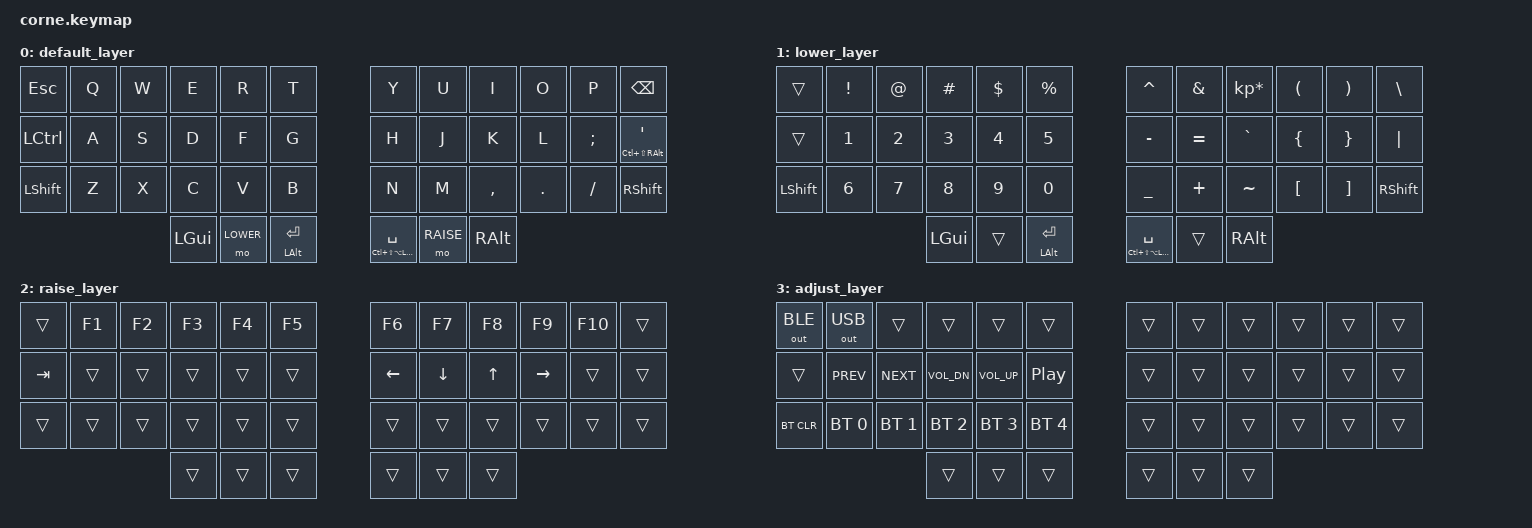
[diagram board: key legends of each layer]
/*
 * Copyright (c) 2020 The ZMK Contributors
 *
 * SPDX-License-Identifier: MIT
 */

#include <behaviors.dtsi>
#include <dt-bindings/zmk/keys.h>
#include <dt-bindings/zmk/bt.h>
#include <dt-bindings/zmk/outputs.h>

#define DEFAULT 0
#define LOWER   1
#define RAISE   2
#define ADJUST  3

/ {
        behaviors {
          tp: tap_preferred {
            compatible = "zmk,behavior-hold-tap";
            label = "TAP_PREFERRED";
            #binding-cells = <2>;
            tapping-term-ms = <200>;
            quick-tap-ms = <0>;
            flavor = "tap-preferred";
            bindings = <&kp>, <&kp>;
          }; 
        };

        conditional_layers {
          compatible = "zmk,conditional-layers";
          tri_layer {
              if-layers = <LOWER RAISE>;
              then-layer = <ADJUST>;
          };
        };

        keymap {
                compatible = "zmk,keymap";

                default_layer {
// -----------------------------------------------------------------------------------------
// | ESC  |  Q  |  W  |  E  |  R  |    T    |   |  Y  |  U   |  I  |  O  |  P  | BKSP |
// | CTRL |  A  |  S  |  D  |  F  |    G    |   |  H  |  J   |  K  |  L  |  ;  |  '   |
// | SHFT |  Z  |  X  |  C  |  V  |    B    |   |  N  |  M   |  ,  |  .  |  /  | SHFT |
//                    | GUI | LWR | ALT/SPC |   | HYPER/ENT | RSE  | ALT |
                        bindings = <
   &kp ESC   &kp Q &kp W &kp E &kp R &kp T            &kp Y &kp U  &kp I     &kp O   &kp P    &kp BSPC
   &kp LCTRL &kp A &kp S &kp D &kp F &kp G            &kp H &kp J  &kp K     &kp L   &kp SEMI &tp LC(LS(RALT)) SQT
   &kp LSHFT &kp Z &kp X &kp C &kp V &kp B            &kp N &kp M  &kp COMMA &kp DOT &kp FSLH &kp RSHFT 
               &kp LGUI &mo LOWER    &tp LALT RET   &tp LC(LS(LA(LGUI))) SPACE &mo RAISE &kp RALT
                        >;
                };

                lower_layer {
// -----------------------------------------------------------------------------------------
// |      |  !  |  @  |  #  |  $  |    %     |   |  ^  |  &  |  *  |  (  |  )  |   \   |
// |      |  1  |  2  |  3  |  4  |    5     |   |  -  |  =  |  `  |  {  |  }  |  "|"  |
// | SHFT |  6  |  7  |  8  |  9  |    0     |   |  _  |  +  |  ~  |  [  |  ]  | RSHFT |
//                     | GUI |     | ALT/ENT |   | HYPER/SPACE |   |  ALT  |
                        bindings = <
   &trans    &kp EXCL &kp AT &kp HASH &kp DLLR &kp PRCNT   &kp CARET  &kp AMPS  &kp KP_MULTIPLY &kp LPAR &kp RPAR &kp BSLH
   &trans    &kp N1   &kp N2 &kp N3   &kp N4   &kp N5      &kp MINUS  &kp EQUAL &kp GRAVE       &kp LBRC &kp RBRC &kp PIPE
   &kp LSHFT &kp N6   &kp N7 &kp N8   &kp N9   &kp N0      &kp UNDER  &kp PLUS  &kp TILDE       &kp LBKT &kp RBKT &kp RSHFT
                         &kp LGUI &trans  &tp LALT RET     &tp LC(LS(LA(LGUI))) SPACE &trans &kp RALT
                        >;
                };

                raise_layer {
// -----------------------------------------------------------------------------------------
// |       |  F1  |  F2  |  F3  |  F4  |  F5  |    |  F6  |  F7  |  F8  |  F9  |  F10  |   |
// |  TAB  |      |      |      |      |      |    |  LFT |  DWN |  UP  |  RGT |       |   | 
// |       |      |      |      |      |      |    |      |      |      |      |       |   |
//                       |      |      |      |    |      |      |      |
                        bindings = <
   &trans    &kp F1   &kp F2   &kp F3   &kp F4   &kp F5      &kp F6   &kp F7   &kp F8 &kp F9    &kp F10 &trans
   &kp TAB   &trans   &trans   &trans   &trans   &trans      &kp LEFT &kp DOWN &kp UP &kp RIGHT &trans  &trans
   &trans    &trans   &trans   &trans   &trans   &trans      &trans   &trans   &trans &trans    &trans  &trans
                               &trans   &trans   &trans      &trans   &trans   &trans
                        >;
                };

                adjust_layer {
// -----------------------------------------------------------------------------------------
// | OUT_B | OUT_U|      |       |       |            |        |    |    |    |    |    |    |
// |       | Prev | Next | Vol - | Vol + | Play/Pause |        |    |    |    |    |    |    |  
// | BTCLR | BT1  | BT2  | BT3   | BT4   | BT5        |        |    |    |    |    |    |    |
//                       |       |       |            |        |    |    |    |    
                        bindings = <
   &out OUT_BLE  &out OUT_USB  &trans       &trans       &trans       &trans            &trans  &trans  &trans  &trans  &trans &trans
   &trans        &kp C_PREV    &kp C_NEXT   &kp C_VOL_DN &kp C_VOL_UP &kp C_PP          &trans  &trans  &trans  &trans  &trans &trans
   &bt BT_CLR    &bt BT_SEL 0  &bt BT_SEL 1 &bt BT_SEL 2 &bt BT_SEL 3 &bt BT_SEL 4      &trans  &trans  &trans  &trans  &trans &trans
                          	            &trans       &trans       &trans            &trans  &trans  &trans
                        >;
                };
        };
};
